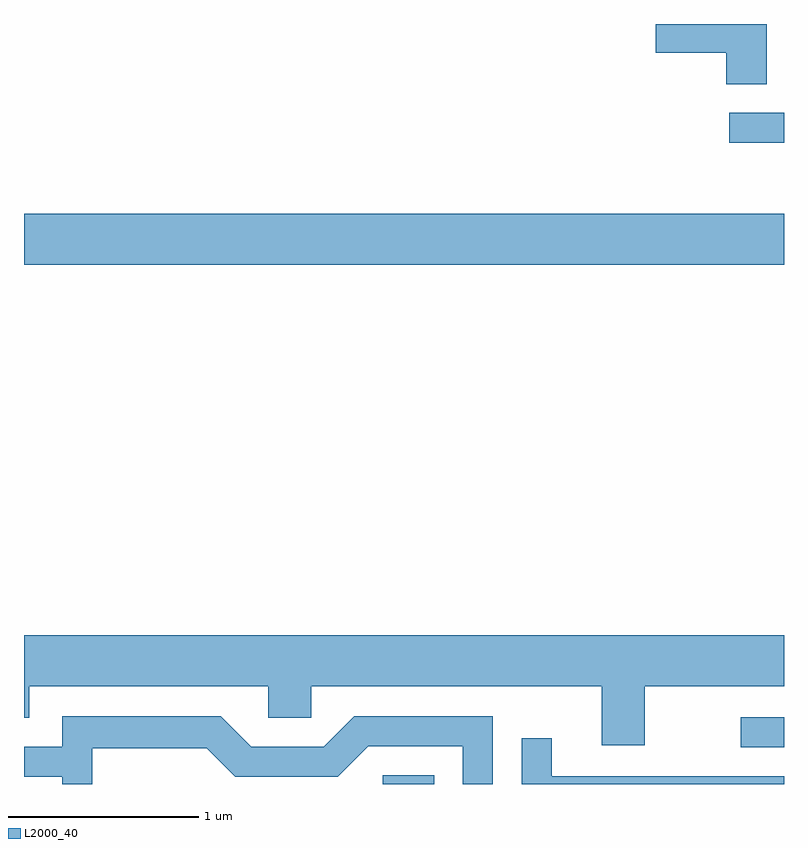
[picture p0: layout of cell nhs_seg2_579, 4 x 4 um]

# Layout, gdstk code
import gdstk
lib = gdstk.Library(unit=1e-6, precision=1e-09)
def R(c, l, rs):  # rectangles x0, y0, x1, y1
    for r in rs: c.add(gdstk.rectangle(r[:2], r[2:], *l))
def P(c, l, *ps):  # polygons
    for p in ps: c.add(gdstk.Polygon(p, *l))
L2000_40 = (2000, 40)

nhs_seg2_579 = lib.new_cell('nhs_seg2_579')
R(nhs_seg2_579, L2000_40, [(203.498,1047.802,203.769,1047.849), (205.383,1047.996,205.611,1048.154), (201.611,1050.536,205.611,1050.804), (205.323,1051.176,205.611,1051.334)])
P(nhs_seg2_579, L2000_40, [(205.519,1051.802),(204.936,1051.802),(204.936,1051.651),(205.306,1051.651),(205.306,1051.486),(205.519,1051.486)],
  [(201.611,1048.151),(201.639,1048.151),(201.639,1048.316),(202.896,1048.316),(202.896,1048.151),(203.124,1048.151),(203.124,1048.316),(204.651,1048.316),(204.651,1048.006),(204.879,1048.006),(204.879,1048.316),(205.611,1048.316),(205.611,1048.584),(201.611,1048.584)],
  [(201.969,1047.991),(202.574,1047.991),(202.724,1047.841),(203.262,1047.841),(203.422,1048.001),(203.921,1048.001),(203.921,1047.802),(204.079,1047.802),(204.079,1048.159),(203.349,1048.159),(203.189,1047.999),(202.807,1047.999),(202.647,1048.159),(201.811,1048.159),(201.811,1047.999),(201.611,1047.999),(201.611,1047.841),(201.811,1047.841),(201.811,1047.802),(201.969,1047.802)],
  [(205.611,1047.844),(204.389,1047.844),(204.389,1048.043),(204.231,1048.043),(204.231,1047.802),(205.611,1047.802)])

lib.write_gds('nhs_seg2_579.gds')
